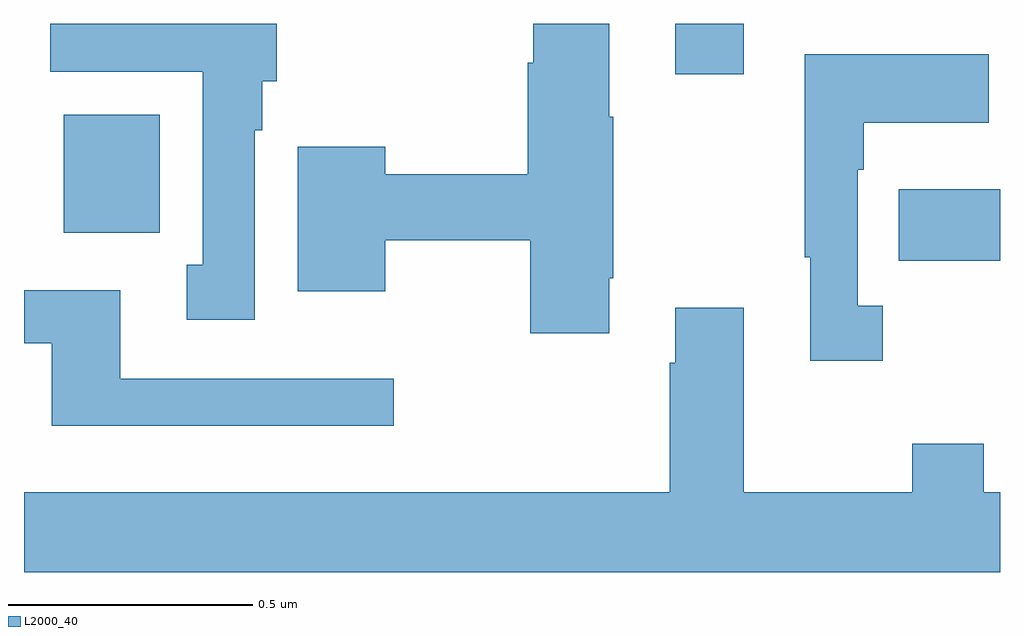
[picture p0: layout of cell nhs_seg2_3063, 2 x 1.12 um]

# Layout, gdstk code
import gdstk
lib = gdstk.Library(unit=1e-6, precision=1e-09)
def R(c, l, rs):  # rectangles x0, y0, x1, y1
    for r in rs: c.add(gdstk.rectangle(r[:2], r[2:], *l))
def P(c, l, *ps):  # polygons
    for p in ps: c.add(gdstk.Polygon(p, *l))
L2000_40 = (2000, 40)

nhs_seg2_3063 = lib.new_cell('nhs_seg2_3063')
R(nhs_seg2_3063, L2000_40, [(150.793,608.314,151,608.461), (149.081,608.372,149.278,608.614), (150.335,608.697,150.475,608.8)])
P(nhs_seg2_3063, L2000_40, [(150.199,608.278),(150.207,608.278),(150.207,608.609),(150.199,608.609),(150.199,608.8),(150.044,608.8),(150.044,608.72),(150.032,608.72),(150.032,608.492),(149.74,608.492),(149.74,608.548),(149.561,608.548),(149.561,608.252),(149.74,608.252),(149.74,608.356),(150.037,608.356),(150.037,608.166),(150.199,608.166)],
  [(149.473,608.582),(149.488,608.582),(149.488,608.682),(149.518,608.682),(149.518,608.8),(149.054,608.8),(149.054,608.702),(149.366,608.702),(149.366,608.306),(149.333,608.306),(149.333,608.193),(149.473,608.193)],
  [(150.76,608.222),(150.708,608.222),(150.708,608.501),(150.721,608.501),(150.721,608.597),(150.977,608.597),(150.977,608.737),(150.6,608.737),(150.6,608.321),(150.611,608.321),(150.611,608.109),(150.76,608.109)],
  [(149.758,608.073),(149.197,608.073),(149.197,608.254),(149,608.254),(149,608.145),(149.057,608.145),(149.057,607.976),(149.758,607.976)],
  [(151,607.84),(150.967,607.84),(150.967,607.939),(150.82,607.939),(150.82,607.84),(150.475,607.84),(150.475,608.218),(150.335,608.218),(150.335,608.105),(150.323,608.105),(150.323,607.84),(149,607.84),(149,607.676),(151,607.676)])

lib.write_gds('nhs_seg2_3063.gds')
